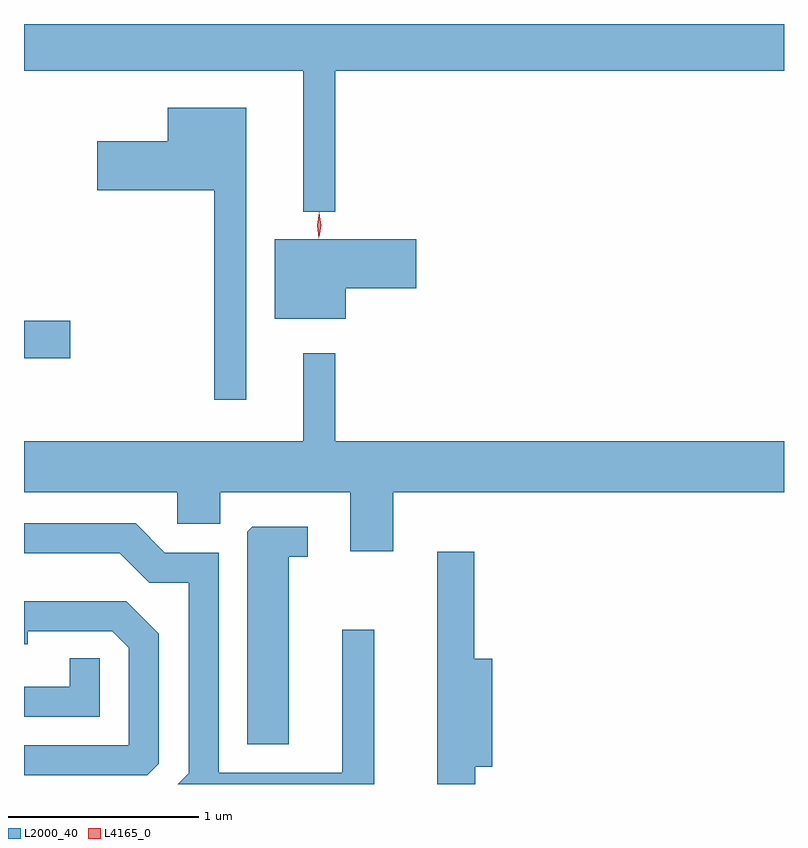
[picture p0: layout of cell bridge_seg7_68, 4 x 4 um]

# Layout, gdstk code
import gdstk
lib = gdstk.Library(unit=1e-6, precision=1e-09)
def R(c, l, rs):  # rectangles x0, y0, x1, y1
    for r in rs: c.add(gdstk.rectangle(r[:2], r[2:], *l))
def P(c, l, *ps):  # polygons
    for p in ps: c.add(gdstk.Polygon(p, *l))
L2000_40 = (2000, 40)
L4165_0 = (4165, 0)

bridge_seg7_68 = lib.new_cell('bridge_seg7_68')
R(bridge_seg7_68, L2000_40, [(1587.61,1748.321,1587.854,1748.519)])
P(bridge_seg7_68, L2000_40, [(1589.249,1749.836),(1591.61,1749.836),(1591.61,1750.081),(1587.61,1750.081),(1587.61,1749.836),(1589.081,1749.836),(1589.081,1749.093),(1589.249,1749.093)],
  [(1588.779,1749.639),(1588.366,1749.639),(1588.366,1749.464),(1587.996,1749.464),(1587.996,1749.206),(1588.611,1749.206),(1588.611,1748.103),(1588.779,1748.103)],
  [(1589.304,1748.691),(1589.674,1748.691),(1589.674,1748.949),(1588.931,1748.949),(1588.931,1748.531),(1589.304,1748.531)],
  [(1589.554,1747.616),(1591.61,1747.616),(1591.61,1747.884),(1589.249,1747.884),(1589.249,1748.348),(1589.081,1748.348),(1589.081,1747.884),(1587.61,1747.884),(1587.61,1747.616),(1588.416,1747.616),(1588.416,1747.451),(1588.644,1747.451),(1588.644,1747.616),(1589.326,1747.616),(1589.326,1747.306),(1589.554,1747.306)],
  [(1589.454,1746.893),(1589.286,1746.893),(1589.286,1746.139),(1588.634,1746.139),(1588.634,1747.299),(1588.352,1747.299),(1588.197,1747.454),(1587.61,1747.454),(1587.61,1747.296),(1588.114,1747.296),(1588.269,1747.141),(1588.476,1747.141),(1588.476,1746.137),(1588.42,1746.081),(1589.454,1746.081)],
  [(1589.004,1747.276),(1589.103,1747.276),(1589.103,1747.434),(1588.812,1747.434),(1588.786,1747.409),(1588.786,1746.291),(1589.004,1746.291)],
  [(1589.984,1746.171),(1590.074,1746.171),(1590.074,1746.739),(1589.979,1746.739),(1589.979,1747.304),(1589.786,1747.304),(1589.786,1746.081),(1589.984,1746.081)],
  [(1588.319,1746.187),(1588.319,1746.872),(1588.147,1747.044),(1587.61,1747.044),(1587.61,1746.816),(1587.629,1746.816),(1587.629,1746.886),(1588.074,1746.886),(1588.161,1746.799),(1588.161,1746.284),(1587.61,1746.284),(1587.61,1746.126),(1588.259,1746.126)],
  [(1588.009,1746.743),(1587.851,1746.743),(1587.851,1746.594),(1587.61,1746.594),(1587.61,1746.436),(1588.009,1746.436)])
P(bridge_seg7_68, L4165_0, [(1589.164,1748.96),(1589.164,1748.96),(1589.154,1749.023),(1589.164,1749.086),(1589.164,1749.087),(1589.165,1749.086),(1589.174,1749.023),(1589.165,1748.96)],
  [(1589.161,1748.954),(1589.153,1749.022),(1589.163,1749.09),(1589.164,1749.09),(1589.164,1749.09),(1589.172,1749.022),(1589.162,1748.954),(1589.162,1748.954)])

lib.write_gds('bridge_seg7_68.gds')
